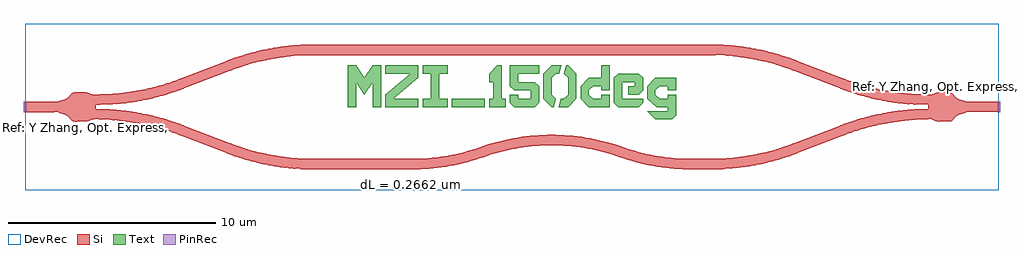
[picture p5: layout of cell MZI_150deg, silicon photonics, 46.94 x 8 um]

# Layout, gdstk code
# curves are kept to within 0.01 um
import gdstk
lib = gdstk.Library(unit=1e-6, precision=1e-09)
def R(c, l, rs):  # rectangles x0, y0, x1, y1
    for r in rs: c.add(gdstk.rectangle(r[:2], r[2:], *l))
def P(c, l, *ps):  # polygons
    for p in ps: c.add(gdstk.Polygon(p, *l))
Si = (1, 0)
PinRec = (1, 10)
Text = (10, 0)
DevRec = (68, 0)

optical_port1 = lib.new_cell('optical_port1')
optical_port1.add(gdstk.FlexPath([(0.05,0),(-0.05,0)], 0.5, ends="flush", simple_path=True, layer=1, datatype=10))  # PinRec
optical_port1.add(gdstk.FlexPath([(0.05,0),(-0.05,0)], 0.5, ends="flush", simple_path=True, layer=1, datatype=10))  # PinRec
optical_port1.add(gdstk.FlexPath([(0.05,0),(-0.05,0)], 0.5, ends="flush", simple_path=True, layer=1, datatype=10))  # PinRec
optical_port1.add(gdstk.FlexPath([(0.05,0),(-0.05,0)], 0.5, ends="flush", simple_path=True, layer=1, datatype=10))  # PinRec
optical_port1.add(gdstk.FlexPath([(0.05,0),(-0.05,0)], 0.5, ends="flush", simple_path=True, layer=1, datatype=10))  # PinRec
optical_port1.add(gdstk.FlexPath([(0.05,0),(-0.05,0)], 0.5, ends="flush", simple_path=True, layer=1, datatype=10))  # PinRec
optical_port1.add(gdstk.FlexPath([(0.05,0),(-0.05,0)], 0.5, ends="flush", simple_path=True, layer=1, datatype=10))  # PinRec
optical_port1.add(gdstk.FlexPath([(0.05,0),(-0.05,0)], 0.5, ends="flush", simple_path=True, layer=1, datatype=10))  # PinRec
optical_port1.add(gdstk.FlexPath([(0.05,0),(-0.05,0)], 0.5, ends="flush", simple_path=True, layer=1, datatype=10))  # PinRec
optical_port1.add(gdstk.FlexPath([(0.05,0),(-0.05,0)], 0.5, ends="flush", simple_path=True, layer=1, datatype=10))  # PinRec
optical_port1.add(gdstk.FlexPath([(0.05,0),(-0.05,0)], 0.5, ends="flush", simple_path=True, layer=1, datatype=10))  # PinRec
optical_port1.add(gdstk.FlexPath([(0.05,0),(-0.05,0)], 0.5, ends="flush", simple_path=True, layer=1, datatype=10))  # PinRec
optical_port1.add(gdstk.FlexPath([(0.05,0),(-0.05,0)], 0.5, ends="flush", simple_path=True, layer=1, datatype=10))  # PinRec
optical_port1.add(gdstk.FlexPath([(0.05,0),(-0.05,0)], 0.5, ends="flush", simple_path=True, layer=1, datatype=10))  # PinRec
optical_port1.add(gdstk.FlexPath([(0.05,0),(-0.05,0)], 0.5, ends="flush", simple_path=True, layer=1, datatype=10))  # PinRec
optical_port1.add(gdstk.FlexPath([(0.05,0),(-0.05,0)], 0.5, ends="flush", simple_path=True, layer=1, datatype=10))  # PinRec
optical_port1.add(gdstk.FlexPath([(0.05,0),(-0.05,0)], 0.5, ends="flush", simple_path=True, layer=1, datatype=10))  # PinRec
optical_port1.add(gdstk.FlexPath([(0.05,0),(-0.05,0)], 0.5, ends="flush", simple_path=True, layer=1, datatype=10))  # PinRec
optical_port1.add(gdstk.FlexPath([(0.05,0),(-0.05,0)], 0.5, ends="flush", simple_path=True, layer=1, datatype=10))  # PinRec
optical_port1.add(gdstk.FlexPath([(0.05,0),(-0.05,0)], 0.5, ends="flush", simple_path=True, layer=1, datatype=10))  # PinRec
optical_port1.add(gdstk.FlexPath([(0.05,0),(-0.05,0)], 0.5, ends="flush", simple_path=True, layer=1, datatype=10))  # PinRec
optical_port1.add(gdstk.FlexPath([(0.05,0),(-0.05,0)], 0.5, ends="flush", simple_path=True, layer=1, datatype=10))  # PinRec
optical_port1.add(gdstk.FlexPath([(0.05,0),(-0.05,0)], 0.5, ends="flush", simple_path=True, layer=1, datatype=10))  # PinRec
optical_port1.add(gdstk.FlexPath([(0.05,0),(-0.05,0)], 0.5, ends="flush", simple_path=True, layer=1, datatype=10))  # PinRec
optical_port1.add(gdstk.FlexPath([(0.05,0),(-0.05,0)], 0.5, ends="flush", simple_path=True, layer=1, datatype=10))  # PinRec
optical_port1.add(gdstk.FlexPath([(0.05,0),(-0.05,0)], 0.5, ends="flush", simple_path=True, layer=1, datatype=10))  # PinRec
optical_port1.add(gdstk.FlexPath([(0.05,0),(-0.05,0)], 0.5, ends="flush", simple_path=True, layer=1, datatype=10))  # PinRec
optical_port1.add(gdstk.FlexPath([(0.05,0),(-0.05,0)], 0.5, ends="flush", simple_path=True, layer=1, datatype=10))  # PinRec
optical_port1.add(gdstk.FlexPath([(0.05,0),(-0.05,0)], 0.5, ends="flush", simple_path=True, layer=1, datatype=10))  # PinRec
optical_port1.add(gdstk.FlexPath([(0.05,0),(-0.05,0)], 0.5, ends="flush", simple_path=True, layer=1, datatype=10))  # PinRec
optical_port1.add(gdstk.FlexPath([(0.05,0),(-0.05,0)], 0.5, ends="flush", simple_path=True, layer=1, datatype=10))  # PinRec
optical_port1.add(gdstk.FlexPath([(0.05,0),(-0.05,0)], 0.5, ends="flush", simple_path=True, layer=1, datatype=10))  # PinRec
optical_port1.add(gdstk.FlexPath([(0.05,0),(-0.05,0)], 0.5, ends="flush", simple_path=True, layer=1, datatype=10))  # PinRec
optical_port1.add(gdstk.FlexPath([(0.05,0),(-0.05,0)], 0.5, ends="flush", simple_path=True, layer=1, datatype=10))  # PinRec
optical_port1.add(gdstk.FlexPath([(0.05,0),(-0.05,0)], 0.5, ends="flush", simple_path=True, layer=1, datatype=10))  # PinRec
optical_port1.add(gdstk.FlexPath([(0.05,0),(-0.05,0)], 0.5, ends="flush", simple_path=True, layer=1, datatype=10))  # PinRec
optical_port1.add(gdstk.FlexPath([(0.05,0),(-0.05,0)], 0.5, ends="flush", simple_path=True, layer=1, datatype=10))  # PinRec
optical_port1.add(gdstk.Label('o1', (0,0), layer=1, texttype=10))
optical_port1.add(gdstk.Label('o1', (0,0), layer=1, texttype=10))
optical_port1.add(gdstk.Label('o1', (0,0), layer=1, texttype=10))
optical_port1.add(gdstk.Label('o1', (0,0), layer=1, texttype=10))
optical_port1.add(gdstk.Label('o1', (0,0), layer=1, texttype=10))
optical_port1.add(gdstk.Label('o1', (0,0), layer=1, texttype=10))
optical_port1.add(gdstk.Label('o1', (0,0), layer=1, texttype=10))
optical_port1.add(gdstk.Label('o1', (0,0), layer=1, texttype=10))
optical_port1.add(gdstk.Label('o1', (0,0), layer=1, texttype=10))
optical_port1.add(gdstk.Label('o1', (0,0), layer=1, texttype=10))
optical_port1.add(gdstk.Label('o1', (0,0), layer=1, texttype=10))
optical_port1.add(gdstk.Label('o1', (0,0), layer=1, texttype=10))
optical_port1.add(gdstk.Label('o1', (0,0), layer=1, texttype=10))
optical_port1.add(gdstk.Label('o1', (0,0), layer=1, texttype=10))
optical_port1.add(gdstk.Label('o1', (0,0), layer=1, texttype=10))
optical_port1.add(gdstk.Label('o1', (0,0), layer=1, texttype=10))
optical_port1.add(gdstk.Label('o1', (0,0), layer=1, texttype=10))
optical_port1.add(gdstk.Label('o1', (0,0), layer=1, texttype=10))
optical_port1.add(gdstk.Label('o1', (0,0), layer=1, texttype=10))
optical_port1.add(gdstk.Label('o1', (0,0), layer=1, texttype=10))
optical_port1.add(gdstk.Label('o1', (0,0), layer=1, texttype=10))
optical_port1.add(gdstk.Label('o1', (0,0), layer=1, texttype=10))
optical_port1.add(gdstk.Label('o1', (0,0), layer=1, texttype=10))
optical_port1.add(gdstk.Label('o1', (0,0), layer=1, texttype=10))
optical_port1.add(gdstk.Label('o1', (0,0), layer=1, texttype=10))
optical_port1.add(gdstk.Label('o1', (0,0), layer=1, texttype=10))
optical_port1.add(gdstk.Label('o1', (0,0), layer=1, texttype=10))
optical_port1.add(gdstk.Label('o1', (0,0), layer=1, texttype=10))
optical_port1.add(gdstk.Label('o1', (0,0), layer=1, texttype=10))
optical_port1.add(gdstk.Label('o1', (0,0), layer=1, texttype=10))
optical_port1.add(gdstk.Label('o1', (0,0), layer=1, texttype=10))
optical_port1.add(gdstk.Label('o1', (0,0), layer=1, texttype=10))
optical_port1.add(gdstk.Label('o1', (0,0), layer=1, texttype=10))
optical_port1.add(gdstk.Label('o1', (0,0), layer=1, texttype=10))
optical_port1.add(gdstk.Label('o1', (0,0), layer=1, texttype=10))
optical_port1.add(gdstk.Label('o1', (0,0), layer=1, texttype=10))
optical_port1.add(gdstk.Label('o1', (0,0), layer=1, texttype=10))

optical_port2 = lib.new_cell('optical_port2')
optical_port2.add(gdstk.FlexPath([(-0.05,0),(0.05,0)], 0.5, ends="flush", simple_path=True, layer=1, datatype=10))  # PinRec
optical_port2.add(gdstk.FlexPath([(-0.05,0),(0.05,0)], 0.5, ends="flush", simple_path=True, layer=1, datatype=10))  # PinRec
optical_port2.add(gdstk.FlexPath([(-0.05,0),(0.05,0)], 0.5, ends="flush", simple_path=True, layer=1, datatype=10))  # PinRec
optical_port2.add(gdstk.FlexPath([(-0.05,0),(0.05,0)], 0.5, ends="flush", simple_path=True, layer=1, datatype=10))  # PinRec
optical_port2.add(gdstk.FlexPath([(-0.05,0),(0.05,0)], 0.5, ends="flush", simple_path=True, layer=1, datatype=10))  # PinRec
optical_port2.add(gdstk.FlexPath([(-0.05,0),(0.05,0)], 0.5, ends="flush", simple_path=True, layer=1, datatype=10))  # PinRec
optical_port2.add(gdstk.FlexPath([(-0.05,0),(0.05,0)], 0.5, ends="flush", simple_path=True, layer=1, datatype=10))  # PinRec
optical_port2.add(gdstk.FlexPath([(-0.05,0),(0.05,0)], 0.5, ends="flush", simple_path=True, layer=1, datatype=10))  # PinRec
optical_port2.add(gdstk.FlexPath([(-0.05,0),(0.05,0)], 0.5, ends="flush", simple_path=True, layer=1, datatype=10))  # PinRec
optical_port2.add(gdstk.FlexPath([(-0.05,0),(0.05,0)], 0.5, ends="flush", simple_path=True, layer=1, datatype=10))  # PinRec
optical_port2.add(gdstk.FlexPath([(-0.05,0),(0.05,0)], 0.5, ends="flush", simple_path=True, layer=1, datatype=10))  # PinRec
optical_port2.add(gdstk.FlexPath([(-0.05,0),(0.05,0)], 0.5, ends="flush", simple_path=True, layer=1, datatype=10))  # PinRec
optical_port2.add(gdstk.FlexPath([(-0.05,0),(0.05,0)], 0.5, ends="flush", simple_path=True, layer=1, datatype=10))  # PinRec
optical_port2.add(gdstk.FlexPath([(-0.05,0),(0.05,0)], 0.5, ends="flush", simple_path=True, layer=1, datatype=10))  # PinRec
optical_port2.add(gdstk.FlexPath([(-0.05,0),(0.05,0)], 0.5, ends="flush", simple_path=True, layer=1, datatype=10))  # PinRec
optical_port2.add(gdstk.FlexPath([(-0.05,0),(0.05,0)], 0.5, ends="flush", simple_path=True, layer=1, datatype=10))  # PinRec
optical_port2.add(gdstk.FlexPath([(-0.05,0),(0.05,0)], 0.5, ends="flush", simple_path=True, layer=1, datatype=10))  # PinRec
optical_port2.add(gdstk.FlexPath([(-0.05,0),(0.05,0)], 0.5, ends="flush", simple_path=True, layer=1, datatype=10))  # PinRec
optical_port2.add(gdstk.FlexPath([(-0.05,0),(0.05,0)], 0.5, ends="flush", simple_path=True, layer=1, datatype=10))  # PinRec
optical_port2.add(gdstk.FlexPath([(-0.05,0),(0.05,0)], 0.5, ends="flush", simple_path=True, layer=1, datatype=10))  # PinRec
optical_port2.add(gdstk.FlexPath([(-0.05,0),(0.05,0)], 0.5, ends="flush", simple_path=True, layer=1, datatype=10))  # PinRec
optical_port2.add(gdstk.FlexPath([(-0.05,0),(0.05,0)], 0.5, ends="flush", simple_path=True, layer=1, datatype=10))  # PinRec
optical_port2.add(gdstk.FlexPath([(-0.05,0),(0.05,0)], 0.5, ends="flush", simple_path=True, layer=1, datatype=10))  # PinRec
optical_port2.add(gdstk.FlexPath([(-0.05,0),(0.05,0)], 0.5, ends="flush", simple_path=True, layer=1, datatype=10))  # PinRec
optical_port2.add(gdstk.FlexPath([(-0.05,0),(0.05,0)], 0.5, ends="flush", simple_path=True, layer=1, datatype=10))  # PinRec
optical_port2.add(gdstk.FlexPath([(-0.05,0),(0.05,0)], 0.5, ends="flush", simple_path=True, layer=1, datatype=10))  # PinRec
optical_port2.add(gdstk.FlexPath([(-0.05,0),(0.05,0)], 0.5, ends="flush", simple_path=True, layer=1, datatype=10))  # PinRec
optical_port2.add(gdstk.FlexPath([(-0.05,0),(0.05,0)], 0.5, ends="flush", simple_path=True, layer=1, datatype=10))  # PinRec
optical_port2.add(gdstk.FlexPath([(-0.05,0),(0.05,0)], 0.5, ends="flush", simple_path=True, layer=1, datatype=10))  # PinRec
optical_port2.add(gdstk.FlexPath([(-0.05,0),(0.05,0)], 0.5, ends="flush", simple_path=True, layer=1, datatype=10))  # PinRec
optical_port2.add(gdstk.FlexPath([(-0.05,0),(0.05,0)], 0.5, ends="flush", simple_path=True, layer=1, datatype=10))  # PinRec
optical_port2.add(gdstk.FlexPath([(-0.05,0),(0.05,0)], 0.5, ends="flush", simple_path=True, layer=1, datatype=10))  # PinRec
optical_port2.add(gdstk.FlexPath([(-0.05,0),(0.05,0)], 0.5, ends="flush", simple_path=True, layer=1, datatype=10))  # PinRec
optical_port2.add(gdstk.FlexPath([(-0.05,0),(0.05,0)], 0.5, ends="flush", simple_path=True, layer=1, datatype=10))  # PinRec
optical_port2.add(gdstk.FlexPath([(-0.05,0),(0.05,0)], 0.5, ends="flush", simple_path=True, layer=1, datatype=10))  # PinRec
optical_port2.add(gdstk.FlexPath([(-0.05,0),(0.05,0)], 0.5, ends="flush", simple_path=True, layer=1, datatype=10))  # PinRec
optical_port2.add(gdstk.FlexPath([(-0.05,0),(0.05,0)], 0.5, ends="flush", simple_path=True, layer=1, datatype=10))  # PinRec
optical_port2.add(gdstk.Label('o2', (0,0), layer=1, texttype=10))
optical_port2.add(gdstk.Label('o2', (0,0), layer=1, texttype=10))
optical_port2.add(gdstk.Label('o2', (0,0), layer=1, texttype=10))
optical_port2.add(gdstk.Label('o2', (0,0), layer=1, texttype=10))
optical_port2.add(gdstk.Label('o2', (0,0), layer=1, texttype=10))
optical_port2.add(gdstk.Label('o2', (0,0), layer=1, texttype=10))
optical_port2.add(gdstk.Label('o2', (0,0), layer=1, texttype=10))
optical_port2.add(gdstk.Label('o2', (0,0), layer=1, texttype=10))
optical_port2.add(gdstk.Label('o2', (0,0), layer=1, texttype=10))
optical_port2.add(gdstk.Label('o2', (0,0), layer=1, texttype=10))
optical_port2.add(gdstk.Label('o2', (0,0), layer=1, texttype=10))
optical_port2.add(gdstk.Label('o2', (0,0), layer=1, texttype=10))
optical_port2.add(gdstk.Label('o2', (0,0), layer=1, texttype=10))
optical_port2.add(gdstk.Label('o2', (0,0), layer=1, texttype=10))
optical_port2.add(gdstk.Label('o2', (0,0), layer=1, texttype=10))
optical_port2.add(gdstk.Label('o2', (0,0), layer=1, texttype=10))
optical_port2.add(gdstk.Label('o2', (0,0), layer=1, texttype=10))
optical_port2.add(gdstk.Label('o2', (0,0), layer=1, texttype=10))
optical_port2.add(gdstk.Label('o2', (0,0), layer=1, texttype=10))
optical_port2.add(gdstk.Label('o2', (0,0), layer=1, texttype=10))
optical_port2.add(gdstk.Label('o2', (0,0), layer=1, texttype=10))
optical_port2.add(gdstk.Label('o2', (0,0), layer=1, texttype=10))
optical_port2.add(gdstk.Label('o2', (0,0), layer=1, texttype=10))
optical_port2.add(gdstk.Label('o2', (0,0), layer=1, texttype=10))
optical_port2.add(gdstk.Label('o2', (0,0), layer=1, texttype=10))
optical_port2.add(gdstk.Label('o2', (0,0), layer=1, texttype=10))
optical_port2.add(gdstk.Label('o2', (0,0), layer=1, texttype=10))
optical_port2.add(gdstk.Label('o2', (0,0), layer=1, texttype=10))
optical_port2.add(gdstk.Label('o2', (0,0), layer=1, texttype=10))
optical_port2.add(gdstk.Label('o2', (0,0), layer=1, texttype=10))
optical_port2.add(gdstk.Label('o2', (0,0), layer=1, texttype=10))
optical_port2.add(gdstk.Label('o2', (0,0), layer=1, texttype=10))
optical_port2.add(gdstk.Label('o2', (0,0), layer=1, texttype=10))
optical_port2.add(gdstk.Label('o2', (0,0), layer=1, texttype=10))
optical_port2.add(gdstk.Label('o2', (0,0), layer=1, texttype=10))
optical_port2.add(gdstk.Label('o2', (0,0), layer=1, texttype=10))
optical_port2.add(gdstk.Label('o2', (0,0), layer=1, texttype=10))

text_tmzi_150deg_s2_p16_ = lib.new_cell('text_TMZI_150deg_S2_P16_7a2b03a7')
R(text_tmzi_150deg_s2_p16_, Text, [(13.12,0,14.72,0.4)])
P(text_tmzi_150deg_s2_p16_, Text, [(22.92,-0.6),(22.52,-0.2),(23.52,-0.2),(23.52,0),(22.988,0),(22.52,0.4),(22.52,1),(22.92,1.4),(23.92,1.4),(23.92,0.8),(23.52,0.8),(23.52,1),(23.12,1),(22.92,0.8),(22.92,0.6),(23.12,0.4),(23.52,0.4),(23.52,0.6),(23.92,0.6),(23.92,-0.4),(23.72,-0.6)],
  [(21.12,0),(20.92,0.2),(20.92,1.4),(21.12,1.6),(22.12,1.6),(22.32,1.4),(22.32,0.8),(22.12,0.6),(21.6,0.6),(21.6,1),(21.92,1),(21.92,1.2),(21.32,1.2),(21.32,0.4),(22.32,0.4),(22.32,0.2),(22.12,0)],
  [(8.12,0),(8.12,2),(8.52,2),(8.92,1.4),(9.32,2),(9.72,2),(9.72,0),(9.32,0),(9.32,1.2),(8.92,0.6),(8.52,1.2),(8.52,0)],
  [(9.92,0),(9.92,0.6),(11.12,1.6),(9.92,1.6),(9.92,2),(11.52,2),(11.52,1.4),(10.32,0.4),(11.52,0.4),(11.52,0)],
  [(11.72,0),(11.72,0.4),(12.12,0.4),(12.12,1.6),(11.72,1.6),(11.72,2),(12.92,2),(12.92,1.6),(12.52,1.6),(12.52,0.4),(12.92,0.4),(12.92,0)],
  [(14.92,0),(14.92,0.4),(15.12,0.4),(15.12,1.2),(14.92,1.2),(14.92,1.6),(15.32,2),(15.52,2),(15.52,0.4),(15.72,0.4),(15.72,0)],
  [(16.12,0),(15.92,0.2),(15.92,0.6),(16.32,0.6),(16.32,0.4),(16.92,0.4),(16.92,0.8),(16.12,0.8),(15.92,1),(15.92,2),(17.32,2),(17.32,1.6),(16.32,1.6),(16.32,1.2),(17.12,1.2),(17.32,1),(17.32,0.2),(17.12,0)],
  [(17.92,0),(17.52,0.4),(17.52,1.6),(17.92,2),(18.38,2),(18.28,1.6),(18.12,1.6),(17.92,1.4),(17.92,0.6),(18.12,0.4),(18.02,0)],
  [(18.26,0),(18.36,0.4),(18.52,0.4),(18.72,0.6),(18.72,1.4),(18.52,1.6),(18.62,2),(18.72,2),(19.12,1.6),(19.12,0.4),(18.72,0)],
  [(19.72,0),(19.32,0.4),(19.32,1),(19.72,1.4),(20.32,1.4),(20.32,2),(20.72,2),(20.72,0.8),(20.32,0.8),(20.32,1),(19.92,1),(19.72,0.8),(19.72,0.6),(19.92,0.4),(20.32,0.4),(20.32,0.6),(20.72,0.6),(20.72,0)])

mzi_150deg = lib.new_cell('MZI_150deg')
P(mzi_150deg, Si, [(6.458,-3),(5.718,-2.974),(4.993,-2.903),(4.257,-2.784),(3.509,-2.613),(3.017,-2.472),(2.491,-2.295),(-0.369,-1.202),(-1.123,-0.974),(-1.826,-0.812),(-2.677,-0.678),(-3.601,-0.607),(-4.123,-0.595),(-4.492,-0.699),(-4.991,-0.701),(-5.077,-0.683),(-5.145,-0.647),(-5.344,-0.44),(-5.434,-0.378),(-5.833,-0.25),(-7.4,-0.25),(-7.4,0.25),(-5.833,0.25),(-5.434,0.378),(-5.344,0.44),(-5.145,0.647),(-5.077,0.683),(-4.991,0.701),(-4.492,0.699),(-4.123,0.595),(-3.501,0.611),(-2.619,0.685),(-1.693,0.839),(-0.976,1.014),(-0.334,1.214),(2.412,2.266),(3.109,2.5),(6.456,2.5),(5.796,2.478),(5.119,2.415),(4.414,2.305),(3.799,2.171),(3.282,2.03),(2.706,1.841),(0.088,0.834),(-0.72,0.567),(-1.565,0.355),(-2.381,0.212),(-3.16,0.13),(-4,0.1),(-4,-0.1),(-3.265,-0.123),(-2.564,-0.188),(-1.895,-0.29),(-1.214,-0.435),(-0.612,-0.599),(-0.086,-0.771),(2.532,-1.777),(3.336,-2.046),(3.962,-2.21),(4.54,-2.328),(5.119,-2.415),(5.678,-2.47),(6.456,-2.5),(11.207,-2.5),(11.6,-2.492),(12.187,-2.451),(12.772,-2.374),(13.541,-2.216),(14.109,-2.058),(15.07,-1.744),(15.872,-1.546),(16.278,-1.472),(16.892,-1.391),(17.51,-1.347),(17.923,-1.339),(18.336,-1.347),(18.954,-1.391),(19.364,-1.441),(19.974,-1.546),(20.776,-1.744),(22.115,-2.168),(22.688,-2.303),(23.463,-2.429),(24.05,-2.482),(24.443,-2.498),(25.756,-2.498),(26.488,-2.46),(27.036,-2.4),(27.625,-2.305),(28.24,-2.171),(28.757,-2.03),(29.507,-1.777),(32.008,-0.813),(32.461,-0.658),(32.999,-0.5),(33.796,-0.316),(34.532,-0.197),(35.288,-0.124),(36.039,-0.1),(36.039,0.1),(35.304,0.123),(34.603,0.188),(33.934,0.29),(33.253,0.435),(32.651,0.599),(32.125,0.771),(29.507,1.777),(28.757,2.03),(28.24,2.171),(27.667,2.297),(27.08,2.394),(26.567,2.453),(26.081,2.487),(25.583,2.5),(3.109,2.5),(3.59,2.634),(4.147,2.762),(4.757,2.87),(5.294,2.938),(5.868,2.983),(6.458,3),(25.581,3),(26.446,2.965),(27.046,2.903),(27.644,2.81),(28.229,2.688),(28.819,2.533),(29.627,2.266),(32.373,1.214),(33.015,1.014),(33.732,0.839),(34.658,0.685),(35.54,0.611),(36.162,0.595),(36.531,0.699),(37.03,0.701),(37.116,0.683),(37.184,0.647),(37.383,0.44),(37.473,0.378),(37.872,0.25),(39.439,0.25),(39.439,-0.25),(37.872,-0.25),(37.473,-0.378),(37.383,-0.44),(37.184,-0.647),(37.116,-0.683),(37.03,-0.701),(36.531,-0.699),(36.162,-0.595),(35.54,-0.611),(34.658,-0.685),(33.732,-0.839),(33.015,-1.014),(32.373,-1.214),(29.627,-2.266),(28.937,-2.498),(28.449,-2.634),(27.892,-2.762),(27.282,-2.87),(26.745,-2.938),(25.883,-2.995),(24.639,-3),(24.02,-2.981),(23.403,-2.925),(22.791,-2.832),(22.185,-2.702),(21.589,-2.536),(20.636,-2.224),(19.874,-2.036),(19.488,-1.965),(18.903,-1.888),(18.316,-1.847),(17.923,-1.839),(17.53,-1.847),(16.943,-1.888),(16.358,-1.965),(15.972,-2.036),(15.21,-2.224),(14.257,-2.536),(13.661,-2.702),(13.055,-2.832),(12.238,-2.948),(11.62,-2.992),(11.207,-3)])
R(mzi_150deg, DevRec, [(-7.4,-4,39.439,4)])
mzi_150deg.add(gdstk.Reference(optical_port1, (-7.4,0)))
mzi_150deg.add(gdstk.Reference(optical_port2, (39.439,0)))
mzi_150deg.add(gdstk.Reference(text_tmzi_150deg_s2_p16_, (0,0)))
mzi_150deg.add(gdstk.Label('Ref: Y Zhang, Opt. Express, 21/1, 2013', (-5.65,-1), layer=10, texttype=0))
mzi_150deg.add(gdstk.Label('Ref: Y Zhang, Opt. Express, 21/1, 2013', (37.689,1), layer=10, texttype=0))
mzi_150deg.add(gdstk.Label('dL = 0.2662 um', (11.208,-3.75), layer=10, texttype=0))

lib.write_gds('MZI_150deg.gds')
